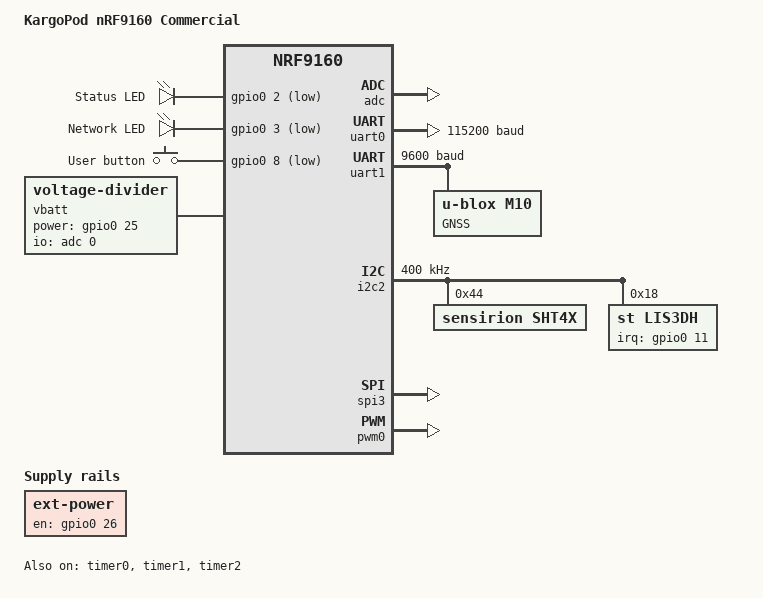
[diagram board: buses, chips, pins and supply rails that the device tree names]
/*
 * Copyright (c) 2025 Kargo Chain
 * SPDX-License-Identifier: Apache-2.0
 */

/dts-v1/;

#include <nordic/nrf9160_lans.dtsi>
#include "kargopod_nrf9160-pinctrl.dtsi"

/ {
	model = "KargoPod nRF9160 Commercial";
	compatible = "kargo,kargopod-nrf9160";

	chosen {
		zephyr,console = &uart0;
		zephyr,shell-uart = &uart0;
		zephyr,uart-mcumgr = &uart0;
		zephyr,sram = &sram0_s;
		zephyr,flash = &flash0;
		zephyr,code-partition = &slot0_partition;
		zephyr,sram-secure-partition = &sram0_s;
		zephyr,sram-non-secure-partition = &sram0_ns;
	};

	leds {
		compatible = "gpio-leds";
		led0: led_0 {
			gpios = <&gpio0 2 GPIO_ACTIVE_LOW>;
			label = "Status LED";
		};
		led1: led_1 {
			gpios = <&gpio0 3 GPIO_ACTIVE_LOW>;
			label = "Network LED";
		};
	};

	buttons {
		compatible = "gpio-keys";
		button0: button_0 {
			gpios = <&gpio0 8 (GPIO_PULL_UP | GPIO_ACTIVE_LOW)>;
			label = "User button";
		};
	};

	aliases {
		led0 = &led0;
		led1 = &led1;
		sw0 = &button0;
		watchdog0 = &wdt0;
	};

	/* Battery voltage divider */
	vbatt {
		compatible = "voltage-divider";
		io-channels = <&adc 0>;
		output-ohms = <100000>;
		full-ohms = <(100000 + 100000)>;
		power-gpios = <&gpio0 25 0>;
	};

	/* External power control */
	ext-power {
		compatible = "regulator-fixed";
		regulator-name = "ext-power";
		enable-gpios = <&gpio0 26 GPIO_ACTIVE_HIGH>;
		regulator-boot-on;
	};
};

&adc {
	status = "okay";
};

&gpiote {
	status = "okay";
};

&gpio0 {
	status = "okay";
};

&uart0 {
	status = "okay";
	current-speed = <115200>;
	pinctrl-0 = <&uart0_default>;
	pinctrl-1 = <&uart0_sleep>;
	pinctrl-names = "default", "sleep";
};

&uart1 {
	compatible = "nordic,nrf-uarte";
	status = "okay";
	current-speed = <9600>;
	pinctrl-0 = <&uart1_default>;
	pinctrl-1 = <&uart1_sleep>;
	pinctrl-names = "default", "sleep";

	/* u-blox M10 GNSS */
	gnss_m10: gnss-m10 {
		compatible = "u-blox,m10";
		label = "GNSS";
	};
};

&i2c2 {
	compatible = "nordic,nrf-twim";
	status = "okay";
	clock-frequency = <I2C_BITRATE_FAST>;
	pinctrl-0 = <&i2c2_default>;
	pinctrl-1 = <&i2c2_sleep>;
	pinctrl-names = "default", "sleep";

	sht4x: sht4x@44 {
		compatible = "sensirion,sht4x";
		reg = <0x44>;
		label = "SHT4X";
	};

	lis3dh: lis3dh@18 {
		compatible = "st,lis3dh";
		reg = <0x18>;
		irq-gpios = <&gpio0 11 GPIO_ACTIVE_HIGH>;
		label = "LIS3DH";
	};
};

&spi3 {
	compatible = "nordic,nrf-spim";
	status = "okay";
	pinctrl-0 = <&spi3_default>;
	pinctrl-1 = <&spi3_sleep>;
	pinctrl-names = "default", "sleep";
};

&pwm0 {
	status = "okay";
	pinctrl-0 = <&pwm0_default>;
	pinctrl-1 = <&pwm0_sleep>;
	pinctrl-names = "default", "sleep";
};

&timer0 {
	status = "okay";
};

&timer1 {
	status = "okay";
};

&timer2 {
	status = "okay";
};

&flash0 {
	partitions {
		compatible = "fixed-partitions";
		#address-cells = <1>;
		#size-cells = <1>;

		boot_partition: partition@0 {
			label = "mcuboot";
			reg = <0x00000000 0x00010000>;
		};
		slot0_partition: partition@10000 {
			label = "image-0";
		};
		slot0_ns_partition: partition@40000 {
			label = "image-0-nonsecure";
		};
		slot1_partition: partition@80000 {
			label = "image-1";
		};
		slot1_ns_partition: partition@b0000 {
			label = "image-1-nonsecure";
		};
		scratch_partition: partition@f0000 {
			label = "image-scratch";
			reg = <0x000f0000 0xa000>;
		};
		storage_partition: partition@fa000 {
			label = "storage";
			reg = <0x000fa000 0x00006000>;
		};
	};
};

/ {
	reserved-memory {
		#address-cells = <1>;
		#size-cells = <1>;
		ranges;

		sram0_s: image_s@20000000 {
			/* Secure image memory */
		};

		sram0_modem: image_modem@20016000 {
			/* Modem memory */
		};

		sram0_ns: image_ns@20020000 {
			/* Non-secure image memory */
		};
	};
};

/* Include TF-M configuration */
#include <nordic/nrf9160_partition_secure.dtsi>
